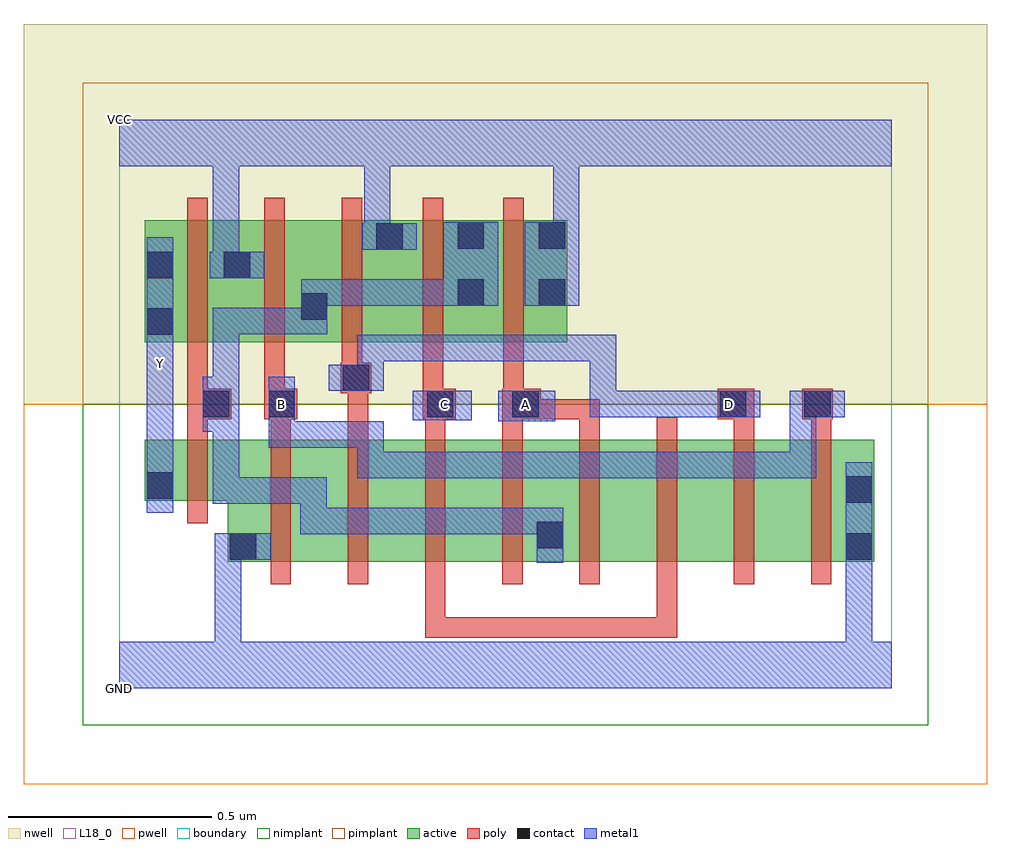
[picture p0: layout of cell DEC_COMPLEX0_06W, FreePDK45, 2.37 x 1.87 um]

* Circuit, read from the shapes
.subckt DEC_COMPLEX0_06W A B C D GND VCC Y
M1 GND n1 Y VSUBS nfet w=0.15u l=0.05u
M2 n2 B GND VSUBS nfet w=0.3u l=0.05u
M3 n3 D n2 VSUBS nfet w=0.3u l=0.05u
M4 n4 C n3 VSUBS nfet w=0.3u l=0.05u
M5 n1 A n4 VSUBS nfet w=0.3u l=0.05u
M6 n5 A n1 VSUBS nfet w=0.3u l=0.05u
M7 n6 C n5 VSUBS nfet w=0.3u l=0.05u
M8 n7 D n6 VSUBS nfet w=0.3u l=0.05u
M9 GND B n7 VSUBS nfet w=0.3u l=0.05u
M10 VCC n1 Y n8 pfet w=0.3u l=0.05u
M11 n1 B VCC n8 pfet w=0.3u l=0.05u
M12 VCC D n1 n8 pfet w=0.3u l=0.05u
M13 n1 C VCC n8 pfet w=0.3u l=0.05u
M14 VCC A n1 n8 pfet w=0.3u l=0.05u
.ends

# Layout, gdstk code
import gdstk
lib = gdstk.Library(unit=1e-6, precision=1e-09)
def R(c, l, rs):  # rectangles x0, y0, x1, y1
    for r in rs: c.add(gdstk.rectangle(r[:2], r[2:], *l))
def A(c, l, x, y, w, h, nx, ny, dx, dy):  # array of equal rectangles
    R(c, l, [(x+i*dx, y+j*dy, x+i*dx+w, y+j*dy+h) for i in range(nx) for j in range(ny)])
active = (1, 0)
pwell = (2, 0)
nwell = (3, 0)
nimplant = (4, 0)
pimplant = (5, 0)
poly = (9, 0)
contact = (10, 0)
metal1 = (11, 0)
L18_0 = (18, 0)
boundary = (235, 0)

dec_complex0_06w = lib.new_cell('DEC_COMPLEX0_06W')
R(dec_complex0_06w, active, [(0.267,0.312,0.492,0.612), (0.267,0.312,0.342,0.527), (0.492,0.312,0.682,0.612), (0.682,0.312,0.872,0.612), (0.872,0.312,1.097,0.612), (1.022,0.312,1.252,0.612), (1.022,0.312,1.097,0.517), (1.252,0.312,1.442,0.612), (1.442,0.312,1.632,0.612), (1.632,0.312,1.857,0.612), (1.782,0.312,1.857,0.612), (0.062,0.462,0.342,0.612), (0.062,0.462,0.137,0.612), (0.062,0.852,0.137,1.152), (0.062,0.852,0.327,1.152), (0.252,0.852,0.517,1.152), (0.442,0.852,0.702,1.152), (0.627,0.852,0.902,1.152), (0.827,0.852,1.102,1.152), (1.027,0.852,1.102,1.152), (0.442,0.902,0.517,1.055), (0.827,0.91,0.902,1.152), (0.252,0.945,0.327,1.152), (0.627,1.007,0.702,1.15)])
R(dec_complex0_06w, pwell, [(-0.235,-0.235,2.135,0.7)])
R(dec_complex0_06w, nwell, [(-0.235,0.7,2.135,1.635)])
R(dec_complex0_06w, nimplant, [(-0.09,-0.09,1.99,0.7)])
R(dec_complex0_06w, pimplant, [(-0.09,0.7,1.99,1.49)])
A(dec_complex0_06w, poly, 0.372, 0.257, 0.05, 0.41, 8, 1, 0.19, 0)
A(dec_complex0_06w, poly, 0.752, 0.617, 0.05, 0.095, 3, 1, 0.19, 0)
A(dec_complex0_06w, poly, 0.167, 0.797, 0.05, 0.41, 3, 1, 0.19, 0)
R(dec_complex0_06w, poly, [(0.752,0.125,0.802,0.307), (0.752,0.125,0.802,0.175), (0.752,0.125,0.802,0.175), (0.752,0.125,0.802,0.175), (0.752,0.125,1.05,0.175), (1,0.125,1.05,0.175), (1,0.125,1.182,0.175), (1.132,0.125,1.182,0.175), (1.132,0.125,1.182,0.175), (1.132,0.125,1.182,0.175), (1.132,0.125,1.372,0.175), (1.322,0.125,1.372,0.307), (1.322,0.125,1.372,0.175), (1.322,0.125,1.372,0.175), (1.322,0.125,1.372,0.175), (0.167,0.407,0.217,0.667), (0.167,0.617,0.217,0.712), (0.372,0.617,0.422,0.712), (0.562,0.617,0.612,0.777), (1.512,0.617,1.562,0.712), (1.702,0.617,1.752,0.712), (0.167,0.662,0.275,0.737), (0.357,0.662,0.437,0.737), (0.747,0.662,0.827,0.737), (0.942,0.662,1.037,0.737), (0.987,0.662,1.037,0.712), (0.987,0.662,1.037,0.712), (0.987,0.662,1.182,0.712), (1.132,0.662,1.182,0.712), (1.472,0.662,1.562,0.737), (1.68,0.662,1.755,0.737), (0.167,0.687,0.217,0.847), (0.357,0.687,0.407,0.847), (0.747,0.687,0.797,0.847), (0.945,0.687,0.995,0.847), (0.545,0.727,0.62,0.802), (0.547,0.752,0.597,0.847), (0.747,0.797,0.797,1.207), (0.945,0.797,0.995,1.207)])
R(dec_complex0_06w, contact, [(0.272,0.317,0.337,0.382), (1.787,0.317,1.852,0.382), (1.027,0.345,1.092,0.41), (1.787,0.457,1.852,0.522), (0.067,0.467,0.132,0.532), (0.205,0.667,0.27,0.732), (0.367,0.667,0.432,0.732), (0.757,0.667,0.822,0.732), (0.967,0.667,1.032,0.732), (1.477,0.667,1.542,0.732), (1.685,0.667,1.75,0.732), (0.55,0.732,0.615,0.797), (0.067,0.87,0.132,0.935), (0.447,0.907,0.512,0.972), (0.832,0.942,0.897,1.007), (1.032,0.942,1.097,1.007), (0.067,1.01,0.132,1.075), (0.257,1.01,0.322,1.075), (0.632,1.08,0.697,1.145), (0.832,1.082,0.897,1.147), (1.032,1.082,1.097,1.147)])
R(dec_complex0_06w, metal1, [(0,0,1.9,0.115), (0.235,0.05,0.3,0.115), (0.235,0.05,0.3,0.115), (0.235,0.05,0.3,0.382), (1.787,0.05,1.852,0.115), (1.787,0.05,1.852,0.115), (1.787,0.05,1.852,0.347), (1.787,0.282,1.852,0.347), (1.787,0.282,1.852,0.347), (1.787,0.282,1.852,0.557), (1.027,0.31,1.092,0.445), (0.235,0.317,0.3,0.382), (0.235,0.317,0.3,0.382), (0.235,0.317,0.372,0.382), (0.445,0.38,0.51,0.52), (0.445,0.38,0.65,0.445), (0.585,0.38,0.65,0.445), (0.585,0.38,0.65,0.445), (0.585,0.38,0.65,0.445), (0.585,0.38,0.86,0.445), (0.795,0.38,0.86,0.445), (0.795,0.38,0.86,0.445), (0.795,0.38,0.86,0.445), (0.795,0.38,1.005,0.445), (0.94,0.38,1.005,0.445), (0.94,0.38,1.092,0.445), (0.067,0.432,0.132,0.567), (0.23,0.455,0.295,0.52), (0.23,0.455,0.295,0.52), (0.23,0.455,0.295,0.52), (0.23,0.455,0.432,0.52), (0.23,0.455,0.295,0.767), (0.367,0.455,0.432,0.52), (0.367,0.455,0.51,0.52), (0.067,0.502,0.132,0.797), (0.585,0.517,0.65,0.582), (0.585,0.517,0.65,0.582), (0.585,0.517,0.86,0.582), (0.585,0.517,0.65,0.657), (0.795,0.517,0.86,0.582), (0.795,0.517,0.86,0.582), (0.795,0.517,0.86,0.582), (0.795,0.517,1.085,0.582), (1.02,0.517,1.085,0.582), (1.02,0.517,1.085,0.582), (1.02,0.517,1.085,0.582), (1.02,0.517,1.222,0.582), (1.157,0.517,1.222,0.582), (1.157,0.517,1.222,0.582), (1.157,0.517,1.222,0.582), (1.157,0.517,1.36,0.582), (1.295,0.517,1.36,0.582), (1.295,0.517,1.497,0.582), (1.432,0.517,1.497,0.582), (1.432,0.517,1.497,0.582), (1.432,0.517,1.497,0.582), (1.432,0.517,1.715,0.582), (1.65,0.517,1.715,0.582), (1.65,0.517,1.715,0.732), (0.367,0.592,0.432,0.657), (0.367,0.592,0.65,0.657), (0.367,0.592,0.432,0.697), (0.205,0.632,0.27,0.767), (0.367,0.632,0.432,0.697), (0.367,0.632,0.432,0.697), (0.367,0.632,0.432,0.767), (0.932,0.657,1.072,0.732), (0.722,0.66,0.867,0.732), (1.157,0.667,1.222,0.732), (1.157,0.667,1.36,0.732), (1.157,0.667,1.222,0.87), (1.295,0.667,1.36,0.732), (1.295,0.667,1.36,0.732), (1.295,0.667,1.36,0.732), (1.295,0.667,1.497,0.732), (1.432,0.667,1.577,0.732), (1.65,0.667,1.715,0.732), (1.65,0.667,1.715,0.732), (1.65,0.667,1.785,0.732), (0.205,0.702,0.295,0.767), (0.23,0.702,0.295,0.767), (0.23,0.702,0.295,0.937), (0.067,0.732,0.132,0.867), (0.515,0.732,0.65,0.797), (0.585,0.732,0.65,0.797), (0.585,0.732,0.65,0.797), (0.585,0.732,0.65,0.87), (0.067,0.802,0.132,0.9), (0.585,0.805,0.65,0.87), (0.585,0.805,0.86,0.87), (0.795,0.805,0.86,0.87), (0.795,0.805,0.86,0.87), (0.795,0.805,0.86,0.87), (0.795,0.805,1.085,0.87), (1.02,0.805,1.085,0.87), (1.02,0.805,1.085,0.87), (1.02,0.805,1.085,0.87), (1.02,0.805,1.222,0.87), (1.157,0.805,1.222,0.87), (1.157,0.805,1.222,0.87), (1.157,0.805,1.222,0.87), (0.067,0.835,0.132,1.11), (0.23,0.872,0.295,0.937), (0.23,0.872,0.442,0.937), (0.377,0.872,0.442,0.937), (0.377,0.872,0.512,0.937), (0.447,0.872,0.512,1.007), (0.447,0.942,0.512,1.007), (0.447,0.942,0.512,1.007), (0.447,0.942,0.65,1.007), (0.585,0.942,0.65,1.007), (0.585,0.942,0.65,1.007), (0.585,0.942,0.65,1.007), (0.585,0.942,0.86,1.007), (0.795,0.942,0.86,1.007), (0.795,0.942,0.862,1.007), (0.797,0.942,0.932,1.147), (0.997,0.942,1.132,1.147), (0.222,1.01,0.357,1.075), (0.23,1.01,0.295,1.075), (0.23,1.01,0.295,1.075), (0.23,1.01,0.295,1.35), (0.597,1.08,0.732,1.145), (0.602,1.08,0.667,1.145), (0.602,1.08,0.667,1.145), (0.602,1.08,0.667,1.35), (1.067,1.082,1.132,1.147), (1.067,1.082,1.132,1.147), (1.067,1.082,1.132,1.35), (0,1.285,1.9,1.4)])
R(dec_complex0_06w, L18_0, [(0,0,1.9,0.115), (0.235,0.05,0.3,0.115), (0.235,0.05,0.3,0.115), (0.235,0.05,0.3,0.382), (1.787,0.05,1.852,0.115), (1.787,0.05,1.852,0.115), (1.787,0.05,1.852,0.347), (1.787,0.282,1.852,0.557), (1.787,0.282,1.852,0.347), (1.787,0.282,1.852,0.347), (0.235,0.317,0.3,0.382), (0.235,0.317,0.3,0.382), (0.235,0.317,0.372,0.382), (0.067,0.432,0.132,0.567), (0.067,0.502,0.132,0.797), (0.585,0.517,0.65,0.582), (0.585,0.517,0.65,0.582), (0.585,0.517,0.65,0.657), (0.585,0.517,0.86,0.582), (0.795,0.517,0.86,0.582), (0.795,0.517,0.86,0.582), (0.795,0.517,0.86,0.582), (0.795,0.517,1.085,0.582), (1.02,0.517,1.085,0.582), (1.02,0.517,1.085,0.582), (1.02,0.517,1.085,0.582), (1.02,0.517,1.222,0.582), (1.157,0.517,1.222,0.582), (1.157,0.517,1.222,0.582), (1.157,0.517,1.222,0.582), (1.157,0.517,1.36,0.582), (1.295,0.517,1.36,0.582), (1.295,0.517,1.497,0.582), (1.432,0.517,1.497,0.582), (1.432,0.517,1.497,0.582), (1.432,0.517,1.497,0.582), (1.432,0.517,1.715,0.582), (1.65,0.517,1.715,0.582), (1.65,0.517,1.715,0.732), (0.367,0.592,0.432,0.657), (0.367,0.592,0.432,0.697), (0.367,0.592,0.65,0.657), (0.367,0.632,0.432,0.767), (0.367,0.632,0.432,0.697), (0.367,0.632,0.432,0.697), (0.932,0.657,1.072,0.732), (0.722,0.66,0.867,0.732), (0.367,0.667,0.432,0.732), (0.767,0.667,0.832,0.732), (0.967,0.667,1.032,0.732), (1.157,0.667,1.222,0.732), (1.157,0.667,1.222,0.87), (1.157,0.667,1.36,0.732), (1.295,0.667,1.36,0.732), (1.295,0.667,1.36,0.732), (1.295,0.667,1.36,0.732), (1.295,0.667,1.497,0.732), (1.432,0.667,1.577,0.732), (1.467,0.667,1.532,0.732), (1.65,0.667,1.715,0.732), (1.65,0.667,1.715,0.732), (1.65,0.667,1.785,0.732), (0.067,0.732,0.132,0.867), (0.515,0.732,0.65,0.797), (0.585,0.732,0.65,0.797), (0.585,0.732,0.65,0.797), (0.585,0.732,0.65,0.87), (0.067,0.767,0.132,0.832), (0.067,0.802,0.132,0.9), (0.585,0.805,0.65,0.87), (0.585,0.805,0.86,0.87), (0.795,0.805,0.86,0.87), (0.795,0.805,0.86,0.87), (0.795,0.805,0.86,0.87), (0.795,0.805,1.085,0.87), (1.02,0.805,1.085,0.87), (1.02,0.805,1.085,0.87), (1.02,0.805,1.085,0.87), (1.02,0.805,1.222,0.87), (1.157,0.805,1.222,0.87), (1.157,0.805,1.222,0.87), (1.157,0.805,1.222,0.87), (0.067,0.835,0.132,1.11), (0.997,0.942,1.132,1.147), (0.222,1.01,0.357,1.075), (0.23,1.01,0.295,1.075), (0.23,1.01,0.295,1.075), (0.23,1.01,0.295,1.35), (0.597,1.08,0.732,1.145), (0.602,1.08,0.667,1.145), (0.602,1.08,0.667,1.145), (0.602,1.08,0.667,1.35), (1.067,1.082,1.132,1.147), (1.067,1.082,1.132,1.147), (1.067,1.082,1.132,1.35), (0,1.285,1.9,1.4)])
R(dec_complex0_06w, boundary, [(0,0,1.9,1.4)])
dec_complex0_06w.add(gdstk.Label('A', (1,0.7), layer=11, texttype=0))
dec_complex0_06w.add(gdstk.Label('B', (0.4,0.7), layer=11, texttype=0))
dec_complex0_06w.add(gdstk.Label('C', (0.8,0.7), layer=11, texttype=0))
dec_complex0_06w.add(gdstk.Label('D', (1.5,0.7), layer=11, texttype=0))
dec_complex0_06w.add(gdstk.Label('Y', (0.1,0.8), layer=11, texttype=0))
dec_complex0_06w.add(gdstk.Label('VCC', (0,1.4), layer=11, texttype=0))
dec_complex0_06w.add(gdstk.Label('GND', (0,0), layer=11, texttype=0))

lib.write_gds('DEC_COMPLEX0_06W.gds')
